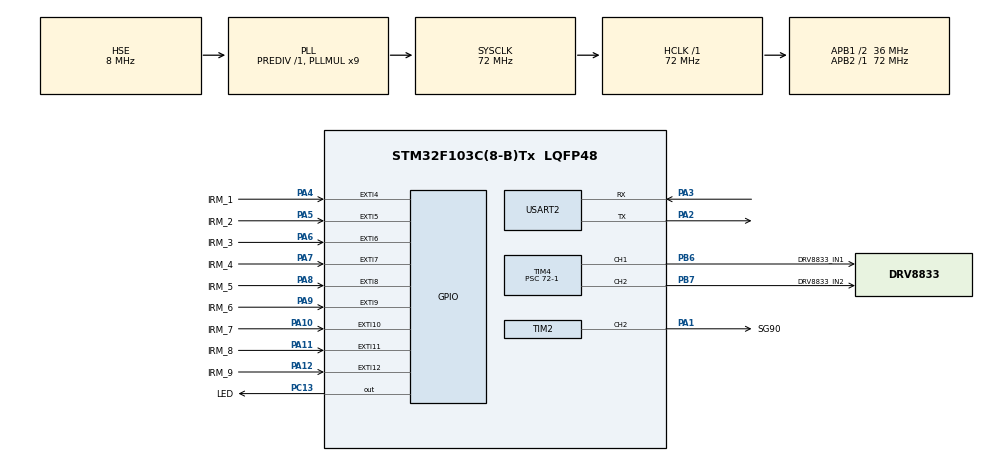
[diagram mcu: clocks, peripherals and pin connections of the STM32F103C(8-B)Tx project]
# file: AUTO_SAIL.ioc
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Mcu.Family=STM32F1
Mcu.Name=STM32F103C(8-B)Tx
Mcu.Package=LQFP48
NVIC.EXTI15_10_IRQn=true\:0\:0\:true\:false\:true\:true\:true\:true
NVIC.EXTI4_IRQn=true\:0\:0\:true\:false\:true\:true\:true\:true
NVIC.EXTI9_5_IRQn=true\:0\:0\:true\:false\:true\:true\:true\:true
NVIC.PriorityGroup=NVIC_PRIORITYGROUP_4
PA1.GPIO_Label=SG90
PA1.Signal=S_TIM2_CH2
PA10.GPIO_Label=IRM_7
PA10.GPIO_ModeDefaultEXTI=GPIO_MODE_IT_FALLING
PA10.Signal=GPXTI10
PA11.GPIO_Label=IRM_8
PA11.GPIO_ModeDefaultEXTI=GPIO_MODE_IT_FALLING
PA11.Signal=GPXTI11
PA12.GPIO_Label=IRM_9
PA12.GPIO_ModeDefaultEXTI=GPIO_MODE_IT_FALLING
PA12.Signal=GPXTI12
PA13.Mode=Serial_Wire
PA13.Signal=SYS_JTMS-SWDIO
PA14.Mode=Serial_Wire
PA14.Signal=SYS_JTCK-SWCLK
PA2.Mode=Asynchronous
PA2.Signal=USART2_TX
PA3.Mode=Asynchronous
PA3.Signal=USART2_RX
PA4.GPIO_Label=IRM_1
PA4.GPIO_ModeDefaultEXTI=GPIO_MODE_IT_FALLING
PA4.Signal=GPXTI4
PA5.GPIO_Label=IRM_2
PA5.GPIO_ModeDefaultEXTI=GPIO_MODE_IT_FALLING
PA5.Signal=GPXTI5
PA6.GPIO_Label=IRM_3
PA6.GPIO_ModeDefaultEXTI=GPIO_MODE_IT_FALLING
PA6.Signal=GPXTI6
PA7.GPIO_Label=IRM_4
PA7.GPIO_ModeDefaultEXTI=GPIO_MODE_IT_FALLING
PA7.Signal=GPXTI7
PA8.GPIO_Label=IRM_5
PA8.GPIO_ModeDefaultEXTI=GPIO_MODE_IT_FALLING
PA8.Signal=GPXTI8
PA9.GPIO_Label=IRM_6
PA9.GPIO_ModeDefaultEXTI=GPIO_MODE_IT_FALLING
PA9.Signal=GPXTI9
PB6.GPIO_Label=DRV8833_IN1
PB6.Signal=S_TIM4_CH1
PB7.GPIO_Label=DRV8833_IN2
PB7.Signal=S_TIM4_CH2
PC13-TAMPER-RTC.GPIO_Label=LED
PC13-TAMPER-RTC.Signal=GPIO_Output
PD0-OSC_IN.Mode=HSE-External-Oscillator
PD0-OSC_IN.Signal=RCC_OSC_IN
PD1-OSC_OUT.Mode=HSE-External-Oscillator
PD1-OSC_OUT.Signal=RCC_OSC_OUT
ProjectManager.HeapSize=0x200
ProjectManager.StackSize=0x400
ProjectManager.TargetToolchain=CMake
RCC.AHBFreq_Value=72000000
RCC.APB1CLKDivider=RCC_HCLK_DIV2
RCC.APB1Freq_Value=36000000
RCC.APB1TimFreq_Value=72000000
RCC.APB2Freq_Value=72000000
RCC.APB2TimFreq_Value=72000000
RCC.HCLKFreq_Value=72000000
RCC.PLLMUL=RCC_PLL_MUL9
RCC.PLLSourceVirtual=RCC_PLLSOURCE_HSE
RCC.SYSCLKFreq_VALUE=72000000
RCC.SYSCLKSource=RCC_SYSCLKSOURCE_PLLCLK
RCC.USBFreq_Value=72000000
SH.S_TIM2_CH2.0=TIM2_CH2,PWM Generation2 CH2
SH.S_TIM4_CH1.0=TIM4_CH1,PWM Generation1 CH1
SH.S_TIM4_CH2.0=TIM4_CH2,PWM Generation2 CH2
TIM2.Channel-PWM\ Generation2\ CH2=TIM_CHANNEL_2
TIM2.Period=2000-1
TIM2.Prescaler=720-1
TIM2.Pulse-PWM\ Generation2\ CH2=50
TIM4.Channel-PWM\ Generation1\ CH1=TIM_CHANNEL_1
TIM4.Channel-PWM\ Generation2\ CH2=TIM_CHANNEL_2
TIM4.Period=100
TIM4.Prescaler=72-1
USART2.VirtualMode=VM_ASYNC
VP_TIM2_VS_ClockSourceINT.Mode=Internal
VP_TIM4_VS_ClockSourceINT.Mode=Internal
board=custom

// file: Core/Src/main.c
/* USER CODE BEGIN Header */
/**
  ******************************************************************************
  * @file           : main.c
  * @brief          : Main program body
  ******************************************************************************
  * @attention
  *
  * Copyright (c) 2025 STMicroelectronics.
  * All rights reserved.
  *
  * This software is licensed under terms that can be found in the LICENSE file
  * in the root directory of this software component.
  * If no LICENSE file comes with this software, it is provided AS-IS.
  *
  ******************************************************************************
  */
/* USER CODE END Header */
#include "main.h"
#include "tim.h"
#include "usart.h"
#include "gpio.h"
#include <stdio.h>

/* USER CODE BEGIN Includes */
#include "sg90.h"
#include "drv8833.h"
#include "infrared.h" // 新增的红外传感器控制加权逻辑的头文件
#include "oled.h"

/* USER CODE END Includes */

/* USER CODE BEGIN PD */
#define MAX_SPEED 100 // 最大速度值
#define UART_BUF_SIZE 64
#define DBG_PRINT(fmt, ...) do { \
    char buf[UART_BUF_SIZE]; \
    sprintf(buf, fmt, ##__VA_ARGS__); \
    HAL_UART_Transmit(&huart2, (uint8_t*)buf, strlen(buf), 100); \
} while(0)
#define IR_DEBOUNCE_MS 15U // 防抖时间（毫秒）用于中断回调函数

/* ==== 反射抗性遮蔽参数 ==== */
#define MASK_PHASE_MS        8000U  /* 单侧遮蔽持续时间（毫秒），根据门间时间调整 */
#define MASK_UNMASK_GAP_MS   2000U  /* 遮蔽切换间的不遮蔽间隔（毫秒），用于船对准下一个门 */
#define MASK_FIRST_RIGHT     1      /* 1=先遮蔽右侧, 0=先遮蔽左侧（根据赛道S弯方向修改） */
/* USER CODE END PD */

/* USER CODE BEGIN PV */
uint8_t speed = 50;//电机速度
static uint32_t ir_last_tick[IR_SENSOR_NUM] = {0};
volatile uint8_t ir_dbg_pending = 0;
volatile uint8_t ir_dbg_idx = 0xFF;
// 红外传感器调试掩码
static const uint8_t ir_enable_mask[IR_SENSOR_NUM] = {
    0,1,1,1,1,1,1,1,0
};

/* ==== 反射抗性状态变量 ==== */
static uint32_t mask_start_tick = 0;    /* 遮蔽计时起点（上电即开始） */
/* USER CODE END PV */

void SystemClock_Config(void);

/* USER CODE BEGIN 0 */
void HAL_GPIO_EXTI_Callback(uint16_t GPIO_Pin)
{
    uint8_t idx = 0xFF;

    if      (GPIO_Pin == IRM_1_Pin) idx = 0;
    else if (GPIO_Pin == IRM_2_Pin) idx = 1;
    else if (GPIO_Pin == IRM_3_Pin) idx = 2;
    else if (GPIO_Pin == IRM_4_Pin) idx = 3;
    else if (GPIO_Pin == IRM_5_Pin) idx = 4;
    else if (GPIO_Pin == IRM_6_Pin) idx = 5;
    else if (GPIO_Pin == IRM_7_Pin) idx = 6;
    else if (GPIO_Pin == IRM_8_Pin) idx = 7;
    else if (GPIO_Pin == IRM_9_Pin) idx = 8;
    else return;

    //红外传感器调试代码
    if (!ir_enable_mask[idx]) return;

    // 反射抗性：被遮蔽方向的传感器直接忽略，不触发
    if (Infrared_IsSensorMasked(idx)) return;

    uint32_t now = HAL_GetTick();//获取当前时间戳
    if ((now - ir_last_tick[idx]) < IR_DEBOUNCE_MS) {
        return; // 防抖时间窗内，忽略抖动
    }

    // 非阻塞电平确认
    if (HAL_GPIO_ReadPin(GPIOA, GPIO_Pin) != GPIO_PIN_RESET) {
        return;
    }

    ir_last_tick[idx] = now;

    if (ir_trigger_status[idx] == 0) { // 只有上一轮状态是0，才更新为1

        Infrared_SetTriggerStatus(idx, 1);
    }
    // 只置标志，不在中断里串口打印
    ir_dbg_idx = idx;
    ir_dbg_pending = 1;

    HAL_GPIO_TogglePin(LED_GPIO_Port, LED_Pin);
}
/* USER CODE END 0 */

int main(void)
{

  /* MCU Configuration--------------------------------------------------------*/

  /* Reset of all peripherals, Initializes the Flash interface and the Systick. */
  HAL_Init();

  /* Configure the system clock */
  SystemClock_Config();

  /* Initialize all configured peripherals */
  MX_GPIO_Init();
  MX_USART2_UART_Init();
  MX_TIM2_Init();
  MX_TIM4_Init();
  /* USER CODE BEGIN 2 */
  SG90_Init();
  DRV8833_Init();
  Infrared_Init(); // 新增红外初始化
  OLED_Init();
  /* USER CODE END 2 */

  /* Infinite loop */
  /* USER CODE BEGIN WHILE */
  DRV8833_Forward(speed); // 开始前进

  while (1)
  {
    /* ==== 反射抗性：时间驱动交替遮蔽（含不遮蔽间隔） ==== */
    uint32_t now = HAL_GetTick();
    uint32_t cycle_time = MASK_PHASE_MS + MASK_UNMASK_GAP_MS;
    uint32_t elapsed   = now - mask_start_tick;
    uint32_t cycle      = elapsed / cycle_time;
    uint32_t in_cycle   = elapsed % cycle_time;

    if (in_cycle < MASK_PHASE_MS) {
        /* 遮蔽期 */
        #if MASK_FIRST_RIGHT
            Infrared_SetMaskSide((cycle & 1) ? IR_MASK_LEFT : IR_MASK_RIGHT);
        #else
            Infrared_SetMaskSide((cycle & 1) ? IR_MASK_RIGHT : IR_MASK_LEFT);
        #endif
    } else {
        /* 不遮蔽间隔：全传感器工作，用于对准下一个门 */
        Infrared_SetMaskSide(IR_MASK_NONE);
    }

    /* 1. 计算红外加权和（被遮蔽传感器不参与） */
    int8_t weight_sum = Infrared_CalcWeightSum();

    /* 2. 计算目标舵机角度 */
    int target_angle = SG90_CalcTargetAngle(weight_sum);

    /* 3. 设置舵机角度 */
    SG90_SetAngle(target_angle);

    /* ==== OLED显示红外传感器状态 ==== */
    static uint8_t oled_disp_status[IR_SENSOR_NUM] = {0};
    static uint32_t oled_disp_tick[IR_SENSOR_NUM] = {0};
    static uint32_t oled_last_refresh = 0;
    uint32_t now_oled = HAL_GetTick();

    for (uint8_t i = 0; i < IR_SENSOR_NUM; i++) {
        if (ir_trigger_status[i]) {
            oled_disp_status[i] = 1;
            oled_disp_tick[i] = now_oled;
        }
    }
    /* 超时500ms后清除显示 */
    for (uint8_t i = 0; i < IR_SENSOR_NUM; i++) {
        if (oled_disp_status[i] && (now_oled - oled_disp_tick[i]) > 500) {
            oled_disp_status[i] = 0;
        }
    }

    /* 每200ms刷新一次OLED */
    if ((now_oled - oled_last_refresh) >= 200) {
        oled_last_refresh = now_oled;

        OLED_Clear();

        /* 第1行：9传感器状态条（12x10方块，实心=触发，空心=未触发） */
        for (uint8_t i = 0; i < IR_SENSOR_NUM; i++) {
            uint8_t x0 = i * 14;
            uint8_t f  = oled_disp_status[i];
            for (uint8_t dx = 1; dx < 13; dx++) {
                for (uint8_t dy = 0; dy < 10; dy++) {
                    OLED_DrawPoint(x0 + dx, dy, f);
                }
            }
        }

        /* 第2行：触发的传感器编号（6x8字体，最多可显示全部9个） */
        char buf[32];
        uint8_t pos = 0;
        for (uint8_t i = 0; i < IR_SENSOR_NUM; i++) {
            if (oled_disp_status[i]) {
                pos += sprintf(buf + pos, "%d ", i + 1);
            }
        }
        if (pos == 0) {
            OLED_ShowString(0, 16, "All Clear", 12);
        } else {
            OLED_ShowString(0, 16, buf, 12);
        }

        /* 底行显示权重、角度和遮蔽状态 */
        const char *mask_str;
        switch (Infrared_GetMaskSide()) {
            case IR_MASK_LEFT:  mask_str = "ML"; break;
            case IR_MASK_RIGHT: mask_str = "MR"; break;
            default:            mask_str = "--"; break;
        }
        sprintf(buf, "W:%d A:%d C%lu %s", weight_sum, target_angle, cycle, mask_str);
        OLED_ShowString(0, 48, buf, 12);

        OLED_Refresh();
    }

    // // 中断事件日志（你前面加的 pending 标志）
    // if (ir_dbg_pending) {
    //     uint8_t idx = ir_dbg_idx;
    //     ir_dbg_pending = 0;
    //     DBG_PRINT("IR_TRIG: IRM%d\r\n", (int)(idx + 1));
    // }
    // // 周期状态日志：每200ms输出一次，避免刷屏阻塞
    // uint32_t now = HAL_GetTick();
    // if ((now - last_log_tick) >= 200U) {
    //     last_log_tick = now;
    //     char ir_stat[10] = {0}; // 9位+结束符
    //     for (uint8_t i = 0; i < 9; i++) {
    //         ir_stat[i] = ir_trigger_status[i] ? '1' : '0';
    //     }
    //     DBG_PRINT("WEIGHT:%d ANGLE:%d IR:[%s]\r\n", weight_sum, target_angle, ir_stat);
    // }

    /* 4. 重置传感器状态（避免持续触发） */
    Infrared_ResetTriggerStatus();

    /* 5. 控制周期（可调整，建议20~50ms） */
    HAL_Delay(30);

    //DEBUG部分代码

    // 核心板上LED以1s为周期闪烁，表示程序正常运行
    HAL_GPIO_TogglePin(LED_GPIO_Port, LED_Pin);

    // DRV8833_Forward(speed); // 控制电机前进
    // speed += 10; // 增加速度
    // if (speed > MAX_SPEED) // 如果速度超过MAX_SPEED，重置为0
    // {
    //   speed = 0;
    // }
    // HAL_Delay(1000); // 延时1秒

    // HAL_GPIO_TogglePin(LED_GPIO_Port, LED_Pin); // Toggle the LED on PC13
    // SG90_TurnLeft(); // 向左转
    //  HAL_Delay(1000); // 延时1秒
    //  HAL_GPIO_TogglePin(LED_GPIO_Port, LED_Pin); // Toggle the LED on PC13
    //  SG90_TurnRight(); // 向右转
    //  HAL_Delay(1000); // 延时1秒
    // SG90_SetAngle(98); // 设置舵机角度居中
    //  HAL_Delay(1000); // 延时1秒
    /* USER CODE END WHILE */

  }
}

void SystemClock_Config(void)
{
  RCC_OscInitTypeDef RCC_OscInitStruct = {0};
  RCC_ClkInitTypeDef RCC_ClkInitStruct = {0};

  /** Initializes the RCC Oscillators according to the specified parameters
  * in the RCC_OscInitTypeDef structure.
  */
  RCC_OscInitStruct.OscillatorType = RCC_OSCILLATORTYPE_HSE;
  RCC_OscInitStruct.HSEState = RCC_HSE_ON;
  RCC_OscInitStruct.HSEPredivValue = RCC_HSE_PREDIV_DIV1;
  RCC_OscInitStruct.HSIState = RCC_HSI_ON;
  RCC_OscInitStruct.PLL.PLLState = RCC_PLL_ON;
  RCC_OscInitStruct.PLL.PLLSource = RCC_PLLSOURCE_HSE;
  RCC_OscInitStruct.PLL.PLLMUL = RCC_PLL_MUL9;
  if (HAL_RCC_OscConfig(&RCC_OscInitStruct) != HAL_OK)
  {
    Error_Handler();
  }

  /** Initializes the CPU, AHB and APB buses clocks
  */
  RCC_ClkInitStruct.ClockType = RCC_CLOCKTYPE_HCLK|RCC_CLOCKTYPE_SYSCLK
                              |RCC_CLOCKTYPE_PCLK1|RCC_CLOCKTYPE_PCLK2;
  RCC_ClkInitStruct.SYSCLKSource = RCC_SYSCLKSOURCE_PLLCLK;
  RCC_ClkInitStruct.AHBCLKDivider = RCC_SYSCLK_DIV1;
  RCC_ClkInitStruct.APB1CLKDivider = RCC_HCLK_DIV2;
  RCC_ClkInitStruct.APB2CLKDivider = RCC_HCLK_DIV1;

  if (HAL_RCC_ClockConfig(&RCC_ClkInitStruct, FLASH_LATENCY_2) != HAL_OK)
  {
    Error_Handler();
  }
}

void Error_Handler(void)
{
  __disable_irq();
  while (1)
  {
  }
}
